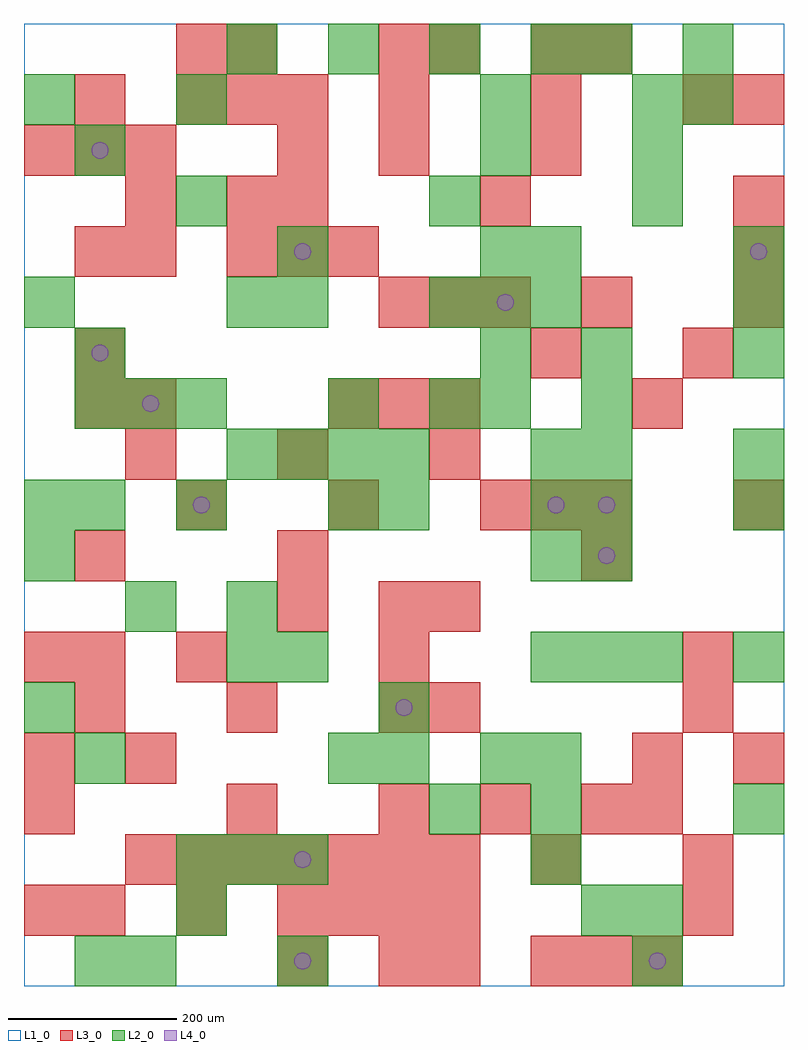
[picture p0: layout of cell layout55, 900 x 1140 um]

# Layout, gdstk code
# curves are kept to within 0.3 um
import gdstk
lib = gdstk.Library(unit=1e-6, precision=1e-09)
def R(c, l, rs):  # rectangles x0, y0, x1, y1
    for r in rs: c.add(gdstk.rectangle(r[:2], r[2:], *l))
def A(c, l, x, y, w, h, nx, ny, dx, dy):  # array of equal rectangles
    R(c, l, [(x+i*dx, y+j*dy, x+i*dx+w, y+j*dy+h) for i in range(nx) for j in range(ny)])
def P(c, l, *ps):  # polygons
    for p in ps: c.add(gdstk.Polygon(p, *l))
L1_0 = (1, 0)
L2_0 = (2, 0)
L3_0 = (3, 0)
L4_0 = (4, 0)

layout55 = lib.new_cell('layout55')
R(layout55, L1_0, [(0,0,900,1140)])
A(layout55, L2_0, 180, 120, 60, 60, 3, 1, 60, 0)
A(layout55, L2_0, 600, 120, 60, 60, 1, 3, 0, 60)
A(layout55, L2_0, 840, 180, 60, 60, 1, 3, 0, 180)
A(layout55, L2_0, 600, 360, 60, 60, 3, 1, 60, 0)
A(layout55, L2_0, 600, 480, 60, 60, 1, 3, 0, 60)
A(layout55, L2_0, 660, 480, 60, 60, 1, 5, 0, 60)
A(layout55, L2_0, 0, 540, 60, 60, 1, 3, 0, 240)
A(layout55, L2_0, 240, 600, 60, 60, 4, 1, 60, 0)
A(layout55, L2_0, 60, 660, 60, 60, 3, 1, 60, 0)
A(layout55, L2_0, 540, 720, 60, 60, 1, 3, 0, 120)
A(layout55, L2_0, 840, 720, 60, 60, 1, 3, 0, 60)
A(layout55, L2_0, 480, 780, 60, 60, 3, 1, 60, 0)
A(layout55, L2_0, 720, 900, 60, 60, 1, 3, 0, 60)
A(layout55, L2_0, 240, 1080, 60, 60, 4, 1, 120, 0)
R(layout55, L2_0, [(60,0,120,60), (120,0,180,60), (300,0,360,60), (720,0,780,60), (180,60,240,120), (660,60,720,120), (720,60,780,120), (480,180,540,240), (60,240,120,300), (360,240,420,300), (420,240,480,300), (540,240,600,300), (0,300,60,360), (420,300,480,360), (240,360,300,420), (300,360,360,420), (120,420,180,480), (240,420,300,480), (0,480,60,540), (60,540,120,600), (180,540,240,600), (360,540,420,600), (420,540,480,600), (840,600,900,660), (360,660,420,720), (480,660,540,720), (540,660,600,720), (60,720,120,780), (240,780,300,840), (300,780,360,840), (300,840,360,900), (600,840,660,900), (180,900,240,960), (480,900,540,960), (60,960,120,1020), (180,1020,240,1080), (540,1020,600,1080), (780,1020,840,1080), (660,1080,720,1140), (780,1080,840,1140)])
A(layout55, L3_0, 600, 0, 60, 60, 3, 1, 60, 0)
A(layout55, L3_0, 60, 60, 60, 60, 3, 1, 120, 0)
A(layout55, L3_0, 360, 60, 60, 60, 3, 2, 60, 600)
A(layout55, L3_0, 120, 120, 60, 60, 7, 1, 60, 0)
A(layout55, L3_0, 420, 180, 60, 60, 3, 1, 120, 0)
A(layout55, L3_0, 60, 300, 60, 60, 3, 1, 180, 0)
A(layout55, L3_0, 180, 540, 60, 60, 3, 1, 180, 0)
A(layout55, L3_0, 120, 600, 60, 60, 3, 1, 180, 0)
A(layout55, L3_0, 420, 780, 60, 60, 3, 1, 60, 0)
A(layout55, L3_0, 840, 780, 60, 60, 1, 3, 0, 60)
A(layout55, L3_0, 240, 840, 60, 60, 3, 1, 60, 0)
A(layout55, L3_0, 0, 960, 60, 60, 3, 1, 60, 0)
A(layout55, L3_0, 180, 1020, 60, 60, 3, 1, 60, 0)
A(layout55, L3_0, 420, 1020, 60, 60, 3, 1, 180, 0)
R(layout55, L3_0, [(300,0,360,60), (420,0,480,60), (480,0,540,60), (0,60,60,120), (780,60,840,120), (600,120,660,180), (780,120,840,180), (0,180,60,240), (240,180,300,240), (720,180,780,240), (0,240,60,300), (120,240,180,300), (720,240,780,300), (840,240,900,300), (480,300,540,360), (780,300,840,360), (0,360,60,420), (60,360,120,420), (180,360,240,420), (420,360,480,420), (780,360,840,420), (300,420,360,480), (420,420,480,480), (480,420,540,480), (60,480,120,540), (300,480,360,540), (660,480,720,540), (600,540,660,600), (660,540,720,600), (840,540,900,600), (60,660,120,720), (120,660,180,720), (720,660,780,720), (60,720,120,780), (600,720,660,780), (780,720,840,780), (660,780,720,840), (60,840,120,900), (120,840,180,900), (120,900,180,960), (240,900,300,960), (300,900,360,960), (540,900,600,960), (300,960,360,1020), (420,960,480,1020), (600,960,660,1020), (60,1020,120,1080), (840,1020,900,1080), (180,1080,240,1140), (240,1080,300,1140), (420,1080,480,1140), (480,1080,540,1140), (600,1080,660,1140), (660,1080,720,1140)])
P(layout55, L4_0, [(100,750),(99.239,753.827),(97.071,757.071),(93.827,759.239),(90,760),(86.173,759.239),(82.929,757.071),(80.761,753.827),(80,750),(80.761,746.173),(82.929,742.929),(86.173,740.761),(90,740),(93.827,740.761),(97.071,742.929),(99.239,746.173)],
  [(100,990),(99.239,993.827),(97.071,997.071),(93.827,999.239),(90,1000),(86.173,999.239),(82.929,997.071),(80.761,993.827),(80,990),(80.761,986.173),(82.929,982.929),(86.173,980.761),(90,980),(93.827,980.761),(97.071,982.929),(99.239,986.173)],
  [(160,690),(159.239,693.827),(157.071,697.071),(153.827,699.239),(150,700),(146.173,699.239),(142.929,697.071),(140.761,693.827),(140,690),(140.761,686.173),(142.929,682.929),(146.173,680.761),(150,680),(153.827,680.761),(157.071,682.929),(159.239,686.173)],
  [(220,570),(219.239,573.827),(217.071,577.071),(213.827,579.239),(210,580),(206.173,579.239),(202.929,577.071),(200.761,573.827),(200,570),(200.761,566.173),(202.929,562.929),(206.173,560.761),(210,560),(213.827,560.761),(217.071,562.929),(219.239,566.173)],
  [(340,30),(339.239,33.827),(337.071,37.071),(333.827,39.239),(330,40),(326.173,39.239),(322.929,37.071),(320.761,33.827),(320,30),(320.761,26.173),(322.929,22.929),(326.173,20.761),(330,20),(333.827,20.761),(337.071,22.929),(339.239,26.173)],
  [(340,150),(339.239,153.827),(337.071,157.071),(333.827,159.239),(330,160),(326.173,159.239),(322.929,157.071),(320.761,153.827),(320,150),(320.761,146.173),(322.929,142.929),(326.173,140.761),(330,140),(333.827,140.761),(337.071,142.929),(339.239,146.173)],
  [(340,870),(339.239,873.827),(337.071,877.071),(333.827,879.239),(330,880),(326.173,879.239),(322.929,877.071),(320.761,873.827),(320,870),(320.761,866.173),(322.929,862.929),(326.173,860.761),(330,860),(333.827,860.761),(337.071,862.929),(339.239,866.173)],
  [(460,330),(459.239,333.827),(457.071,337.071),(453.827,339.239),(450,340),(446.173,339.239),(442.929,337.071),(440.761,333.827),(440,330),(440.761,326.173),(442.929,322.929),(446.173,320.761),(450,320),(453.827,320.761),(457.071,322.929),(459.239,326.173)],
  [(580,810),(579.239,813.827),(577.071,817.071),(573.827,819.239),(570,820),(566.173,819.239),(562.929,817.071),(560.761,813.827),(560,810),(560.761,806.173),(562.929,802.929),(566.173,800.761),(570,800),(573.827,800.761),(577.071,802.929),(579.239,806.173)],
  [(640,570),(639.239,573.827),(637.071,577.071),(633.827,579.239),(630,580),(626.173,579.239),(622.929,577.071),(620.761,573.827),(620,570),(620.761,566.173),(622.929,562.929),(626.173,560.761),(630,560),(633.827,560.761),(637.071,562.929),(639.239,566.173)],
  [(700,510),(699.239,513.827),(697.071,517.071),(693.827,519.239),(690,520),(686.173,519.239),(682.929,517.071),(680.761,513.827),(680,510),(680.761,506.173),(682.929,502.929),(686.173,500.761),(690,500),(693.827,500.761),(697.071,502.929),(699.239,506.173)],
  [(700,570),(699.239,573.827),(697.071,577.071),(693.827,579.239),(690,580),(686.173,579.239),(682.929,577.071),(680.761,573.827),(680,570),(680.761,566.173),(682.929,562.929),(686.173,560.761),(690,560),(693.827,560.761),(697.071,562.929),(699.239,566.173)],
  [(760,30),(759.239,33.827),(757.071,37.071),(753.827,39.239),(750,40),(746.173,39.239),(742.929,37.071),(740.761,33.827),(740,30),(740.761,26.173),(742.929,22.929),(746.173,20.761),(750,20),(753.827,20.761),(757.071,22.929),(759.239,26.173)],
  [(880,870),(879.239,873.827),(877.071,877.071),(873.827,879.239),(870,880),(866.173,879.239),(862.929,877.071),(860.761,873.827),(860,870),(860.761,866.173),(862.929,862.929),(866.173,860.761),(870,860),(873.827,860.761),(877.071,862.929),(879.239,866.173)])

lib.write_gds('layout55.gds')
